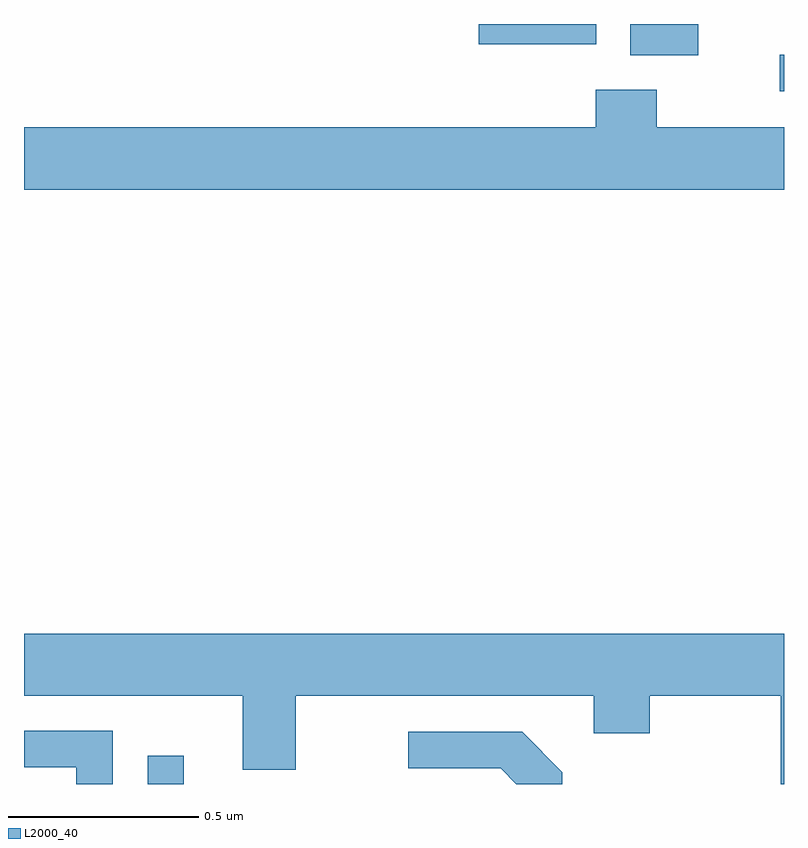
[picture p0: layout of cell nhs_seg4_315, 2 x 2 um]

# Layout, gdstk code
import gdstk
lib = gdstk.Library(unit=1e-6, precision=1e-09)
def R(c, l, rs):  # rectangles x0, y0, x1, y1
    for r in rs: c.add(gdstk.rectangle(r[:2], r[2:], *l))
def P(c, l, *ps):  # polygons
    for p in ps: c.add(gdstk.Polygon(p, *l))
L2000_40 = (2000, 40)

nhs_seg4_315 = lib.new_cell('nhs_seg4_315')
R(nhs_seg4_315, L2000_40, [(114.325,817.9,114.421,817.975), (115.989,819.723,116,819.819), (115.595,819.818,115.774,819.9), (115.197,819.847,115.506,819.9)])
P(nhs_seg4_315, L2000_40, [(116,819.628),(115.665,819.628),(115.665,819.727),(115.505,819.727),(115.505,819.628),(114,819.628),(114,819.464),(116,819.464)],
  [(116,818.296),(114,818.296),(114,818.132),(114.575,818.132),(114.575,817.938),(114.715,817.938),(114.715,818.132),(115.499,818.132),(115.499,818.033),(115.647,818.033),(115.647,818.132),(115.991,818.132),(115.991,817.9),(116,817.9)],
  [(114.234,818.04),(114,818.04),(114,817.944),(114.138,817.944),(114.138,817.9),(114.234,817.9)],
  [(115.417,817.931),(115.311,818.037),(115.011,818.037),(115.011,817.941),(115.254,817.941),(115.295,817.9),(115.417,817.9)])

lib.write_gds('nhs_seg4_315.gds')
